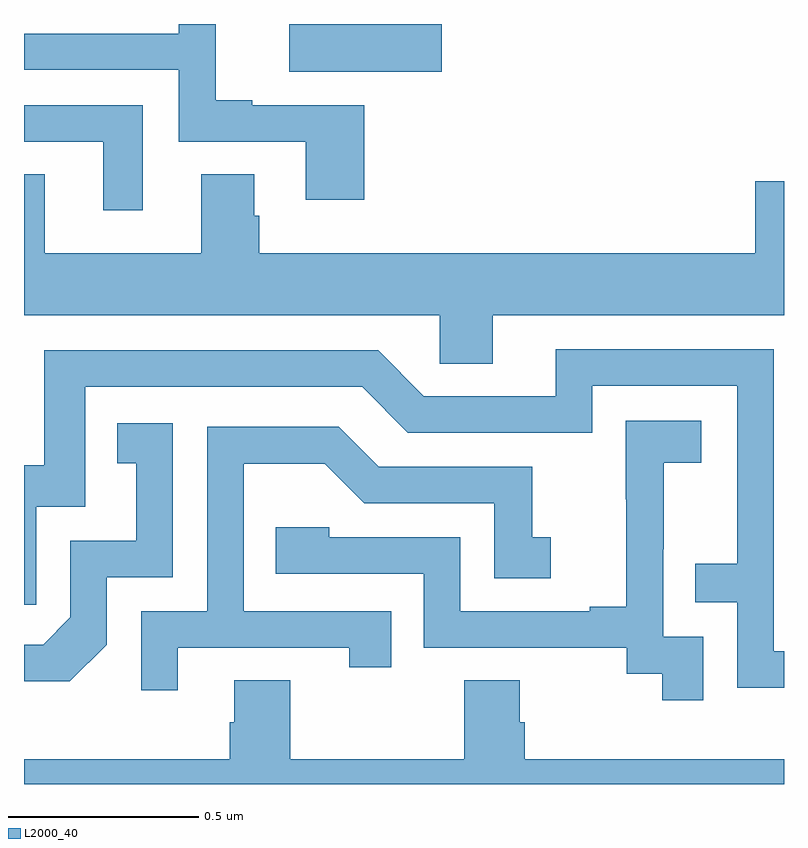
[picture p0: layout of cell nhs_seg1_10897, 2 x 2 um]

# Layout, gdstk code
import gdstk
lib = gdstk.Library(unit=1e-6, precision=1e-09)
def R(c, l, rs):  # rectangles x0, y0, x1, y1
    for r in rs: c.add(gdstk.rectangle(r[:2], r[2:], *l))
def P(c, l, *ps):  # polygons
    for p in ps: c.add(gdstk.Polygon(p, *l))
L2000_40 = (2000, 40)

nhs_seg1_10897 = lib.new_cell('nhs_seg1_10897')
R(nhs_seg1_10897, L2000_40, [(247.698,519.074,248.099,519.199)])
P(nhs_seg1_10897, L2000_40, [(247.895,518.985),(247.6,518.985),(247.6,518.998),(247.505,518.998),(247.505,519.199),(247.407,519.199),(247.407,519.174),(247,519.174),(247,519.078),(247.407,519.078),(247.407,518.889),(247.742,518.889),(247.742,518.736),(247.895,518.736)],
  [(247.312,518.985),(247,518.985),(247,518.889),(247.208,518.889),(247.208,518.709),(247.312,518.709)],
  [(248.233,518.432),(249,518.432),(249,518.785),(248.924,518.785),(248.924,518.596),(247.619,518.596),(247.619,518.694),(247.606,518.694),(247.606,518.804),(247.466,518.804),(247.466,518.596),(247.054,518.596),(247.054,518.804),(247,518.804),(247,518.432),(248.094,518.432),(248.094,518.305),(248.233,518.305)],
  [(249,517.548),(248.973,517.548),(248.973,518.343),(248.399,518.343),(248.399,518.22),(248.052,518.22),(247.932,518.34),(247.053,518.34),(247.053,518.038),(247,518.038),(247,517.671),(247.032,517.671),(247.032,517.929),(247.161,517.929),(247.161,518.244),(247.89,518.244),(248.01,518.124),(248.496,518.124),(248.496,518.247),(248.877,518.247),(248.877,517.778),(248.767,517.778),(248.767,517.677),(248.877,517.677),(248.877,517.452),(249,517.452)],
  [(248.787,517.587),(248.682,517.587),(248.682,517.817),(248.684,517.817),(248.684,518.045),(248.782,518.045),(248.782,518.155),(248.584,518.155),(248.584,517.949),(248.585,517.949),(248.585,517.666),(248.489,517.666),(248.489,517.653),(248.148,517.653),(248.148,517.848),(247.803,517.848),(247.803,517.875),(247.663,517.875),(247.663,517.752),(248.052,517.752),(248.052,517.557),(248.586,517.557),(248.586,517.489),(248.679,517.489),(248.679,517.419),(248.787,517.419)],
  [(247.218,517.566),(247.218,517.743),(247.392,517.743),(247.392,518.149),(247.246,518.149),(247.246,518.043),(247.295,518.043),(247.295,517.839),(247.122,517.839),(247.122,517.638),(247.05,517.566),(247,517.566),(247,517.469),(247.12,517.469)],
  [(247.405,517.557),(247.856,517.557),(247.856,517.506),(247.967,517.506),(247.967,517.653),(247.578,517.653),(247.578,518.042),(247.792,518.042),(247.896,517.938),(248.238,517.938),(248.238,517.74),(248.386,517.74),(248.386,517.849),(248.337,517.849),(248.337,518.034),(247.933,518.034),(247.828,518.139),(247.482,518.139),(247.482,517.653),(247.308,517.653),(247.308,517.446),(247.405,517.446)],
  [(249,517.264),(248.318,517.264),(248.318,517.362),(248.305,517.362),(248.305,517.472),(248.158,517.472),(248.158,517.264),(247.701,517.264),(247.701,517.472),(247.553,517.472),(247.553,517.362),(247.541,517.362),(247.541,517.264),(247,517.264),(247,517.199),(249,517.199)])

lib.write_gds('nhs_seg1_10897.gds')
